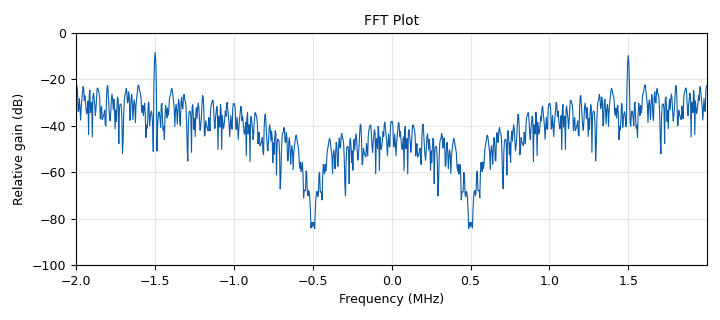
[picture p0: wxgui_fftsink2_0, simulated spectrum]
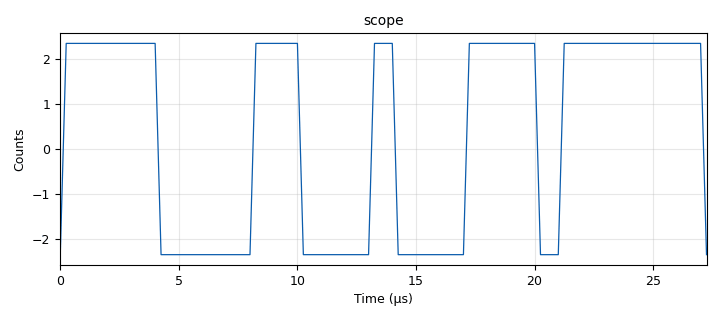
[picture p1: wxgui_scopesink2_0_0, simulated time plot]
<?xml version='1.0' encoding='utf-8'?>
<?grc format='1' created='3.7.8'?>
<flow_graph>
<block>
<key>options</key>
<param><key>id</key><value>CPFSK_tests</value></param>
<param><key>category</key><value>Custom</value></param>
<param><key>generate_options</key><value>wx_gui</value></param>
<param><key>realtime_scheduling</key><value>1</value></param>
</block>
<block>
<key>variable</key>
<param><key>id</key><value>bit_rate</value></param>
<param><key>value</key><value>1e6</value></param>
</block>
<block>
<key>variable</key>
<param><key>id</key><value>samp_per_sym</value></param>
<param><key>value</key><value>4</value></param>
</block>
<block>
<key>variable</key>
<param><key>id</key><value>samp_rate</value></param>
<param><key>value</key><value>bit_rate*samp_per_sym</value></param>
</block>
<block>
<key>analog_cpfsk_bc</key>
<param><key>id</key><value>analog_cpfsk_bc_0</value></param>
<param><key>amplitude</key><value>1</value></param>
<param><key>k</key><value>3</value></param>
<param><key>samples_per_symbol</key><value>samp_per_sym</value></param>
</block>
<block>
<key>analog_quadrature_demod_cf</key>
<param><key>id</key><value>analog_quadrature_demod_cf_0</value></param>
<param><key>gain</key><value>1</value></param>
</block>
<block>
<key>analog_random_source_x</key>
<param><key>id</key><value>analog_random_source_x_0</value></param>
<param><key>max</key><value>255</value></param>
<param><key>min</key><value>0</value></param>
<param><key>num_samps</key><value>1000</value></param>
<param><key>type</key><value>byte</value></param>
<param><key>repeat</key><value>True</value></param>
</block>
<block>
<key>analog_sig_source_x</key>
<param><key>id</key><value>analog_sig_source_x_0</value></param>
<param><key>amp</key><value>1</value></param>
<param><key>_enabled</key><value>0</value></param>
<param><key>freq</key><value>samp_rate/8</value></param>
<param><key>offset</key><value>0</value></param>
<param><key>type</key><value>complex</value></param>
<param><key>samp_rate</key><value>samp_rate</value></param>
<param><key>waveform</key><value>analog.GR_COS_WAVE</value></param>
</block>
<block>
<key>blocks_throttle</key>
<param><key>id</key><value>blocks_throttle_0</value></param>
<param><key>_enabled</key><value>0</value></param>
<param><key>samples_per_second</key><value>samp_rate</value></param>
<param><key>type</key><value>complex</value></param>
</block>
<block>
<key>blocks_throttle</key>
<param><key>id</key><value>blocks_throttle_0_0</value></param>
<param><key>samples_per_second</key><value>bit_rate/8</value></param>
<param><key>type</key><value>byte</value></param>
</block>
<block>
<key>blocks_unpack_k_bits_bb</key>
<param><key>id</key><value>blocks_unpack_k_bits_bb_0</value></param>
<param><key>k</key><value>8</value></param>
</block>
<block>
<key>wxgui_constellationsink2</key>
<param><key>id</key><value>wxgui_constellationsink2_0</value></param>
<param><key>const_size</key><value>2048</value></param>
<param><key>_enabled</key><value>0</value></param>
<param><key>frame_rate</key><value>10</value></param>
<param><key>gain_mu</key><value>0.005</value></param>
<param><key>loop_bw</key><value>6.28/100.0</value></param>
<param><key>M</key><value>4</value></param>
<param><key>fmax</key><value>0.06</value></param>
<param><key>mu</key><value>0.5</value></param>
<param><key>omega_limit</key><value>0.005</value></param>
<param><key>samp_rate</key><value>samp_rate</value></param>
<param><key>symbol_rate</key><value>samp_rate</value></param>
<param><key>theta</key><value>0</value></param>
<param><key>title</key><value>Constellation Plot</value></param>
</block>
<block>
<key>wxgui_fftsink2</key>
<param><key>id</key><value>wxgui_fftsink2_0</value></param>
<param><key>avg_alpha</key><value>0</value></param>
<param><key>average</key><value>False</value></param>
<param><key>baseband_freq</key><value>0</value></param>
<param><key>fft_size</key><value>1024</value></param>
<param><key>freqvar</key><value>None</value></param>
<param><key>grid_pos</key><value>(1,1,1,1)</value></param>
<param><key>peak_hold</key><value>False</value></param>
<param><key>ref_level</key><value>0</value></param>
<param><key>ref_scale</key><value>2.0</value></param>
<param><key>fft_rate</key><value>15</value></param>
<param><key>samp_rate</key><value>samp_rate</value></param>
<param><key>title</key><value>FFT Plot</value></param>
<param><key>type</key><value>complex</value></param>
<param><key>win</key><value>None</value></param>
<param><key>y_divs</key><value>10</value></param>
<param><key>y_per_div</key><value>10</value></param>
</block>
<block>
<key>wxgui_scopesink2</key>
<param><key>id</key><value>wxgui_scopesink2_0_0</value></param>
<param><key>ac_couple</key><value>False</value></param>
<param><key>grid_pos</key><value>(1,2,1,1)</value></param>
<param><key>num_inputs</key><value>1</value></param>
<param><key>samp_rate</key><value>samp_rate</value></param>
<param><key>t_scale</key><value>0</value></param>
<param><key>title</key><value>scope</value></param>
<param><key>trig_mode</key><value>wxgui.TRIG_MODE_NORM</value></param>
<param><key>type</key><value>float</value></param>
<param><key>v_offset</key><value>0</value></param>
<param><key>v_scale</key><value>0</value></param>
<param><key>xy_mode</key><value>False</value></param>
<param><key>y_axis_label</key><value>Counts</value></param>
</block>
<connection><source_block_id>analog_cpfsk_bc_0</source_block_id><sink_block_id>analog_quadrature_demod_cf_0</sink_block_id><source_key>0</source_key><sink_key>0</sink_key></connection>
<connection><source_block_id>analog_cpfsk_bc_0</source_block_id><sink_block_id>wxgui_fftsink2_0</sink_block_id><source_key>0</source_key><sink_key>0</sink_key></connection>
<connection><source_block_id>analog_quadrature_demod_cf_0</source_block_id><sink_block_id>wxgui_scopesink2_0_0</sink_block_id><source_key>0</source_key><sink_key>0</sink_key></connection>
<connection><source_block_id>analog_random_source_x_0</source_block_id><sink_block_id>blocks_throttle_0_0</sink_block_id><source_key>0</source_key><sink_key>0</sink_key></connection>
<connection><source_block_id>analog_sig_source_x_0</source_block_id><sink_block_id>blocks_throttle_0</sink_block_id><source_key>0</source_key><sink_key>0</sink_key></connection>
<connection><source_block_id>blocks_throttle_0</source_block_id><sink_block_id>wxgui_constellationsink2_0</sink_block_id><source_key>0</source_key><sink_key>0</sink_key></connection>
<connection><source_block_id>blocks_throttle_0_0</source_block_id><sink_block_id>blocks_unpack_k_bits_bb_0</sink_block_id><source_key>0</source_key><sink_key>0</sink_key></connection>
<connection><source_block_id>blocks_unpack_k_bits_bb_0</source_block_id><sink_block_id>analog_cpfsk_bc_0</sink_block_id><source_key>0</source_key><sink_key>0</sink_key></connection>
</flow_graph>
